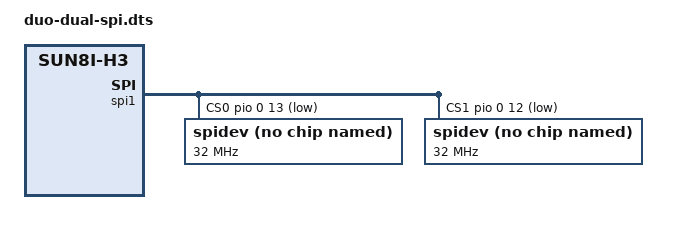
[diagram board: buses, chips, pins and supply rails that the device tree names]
/dts-v1/;
/plugin/;

/ {
    compatible = "allwinner,sun8i-h3";

    fragment@0 {
        target = <&spi1>;

        __overlay__ {
            #address-cells = <1>;
            #size-cells = <0>;

            /*
             * SPI1 CS0: PA13
             * SPI1 CS1: PA12 (GPIO)
             */
            cs-gpios = <&pio 0 13 1>,
                       <&pio 0 12 1>;

            status = "okay";

            spidev@0 {
                compatible = "spidev";
                reg = <0>;
                spi-max-frequency = <32000000>;
                status = "okay";
            };

            spidev@1 {
                compatible = "spidev";
                reg = <1>;
                spi-max-frequency = <32000000>;
                status = "okay";
            };
        };
    };
};
